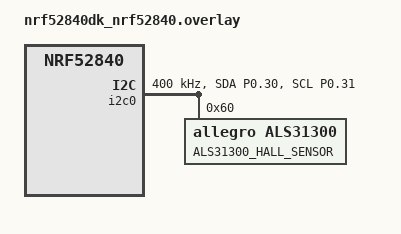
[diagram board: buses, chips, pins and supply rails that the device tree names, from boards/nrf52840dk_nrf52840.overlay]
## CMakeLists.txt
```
# Copyright (c) 2025 Croxel Inc.
# SPDX-License-Identifier: Apache-2.0

cmake_minimum_required(VERSION 3.20)
find_package(Zephyr REQUIRED HINTS $ENV{ZEPHYR_BASE})
project(als31300)

FILE(GLOB app_sources src/*.c)
target_sources(app PRIVATE ${app_sources})
```

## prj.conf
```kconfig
# SPDX-License-Identifier: Apache-2.0

# Logging configuration
CONFIG_LOG=y
CONFIG_LOG_DEFAULT_LEVEL=3
CONFIG_SENSOR_LOG_LEVEL_INF=y

# I2C and sensor support
CONFIG_I2C=y
CONFIG_SENSOR=y

# ALS31300 sensor driver
CONFIG_ALS31300=y

# Math library for magnitude calculations
CONFIG_NEWLIB_LIBC=y
CONFIG_NEWLIB_LIBC_FLOAT_PRINTF=y

CONFIG_CBPRINTF_FP_SUPPORT=y
```

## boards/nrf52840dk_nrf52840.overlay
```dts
/*
 * Copyright (c) 2025 Croxel
 * SPDX-License-Identifier: Apache-2.0
 */

&i2c0 {
	compatible = "nordic,nrf-twim";
	status = "okay";
	clock-frequency = <I2C_BITRATE_FAST>;
	pinctrl-0 = <&i2c0_default>;
	pinctrl-1 = <&i2c0_sleep>;
	pinctrl-names = "default", "sleep";

	als31300: als31300@60 {
		compatible = "allegro,als31300";
		reg = <0x60>;
		status = "okay";

		full-scale-range = <500>;	/* 500G, 1000G, or 2000G */

		label = "ALS31300_HALL_SENSOR";
	};
};

&pinctrl {
	i2c0_default: i2c0_default {
		group1 {
			psels = <NRF_PSEL(TWIM_SDA, 0, 30)>,	/* P0.30 */
				<NRF_PSEL(TWIM_SCL, 0, 31)>;	/* P0.31 */
		};
	};

	i2c0_sleep: i2c0_sleep {
		group1 {
			psels = <NRF_PSEL(TWIM_SDA, 0, 30)>,
				<NRF_PSEL(TWIM_SCL, 0, 31)>;
			low-power-enable;
		};
	};
};
```

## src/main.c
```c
/*
 * Copyright (c) 2025 Croxel
 * SPDX-License-Identifier: Apache-2.0
 */

#include <zephyr/kernel.h>
#include <zephyr/drivers/sensor.h>
#include <zephyr/logging/log.h>
#include <stdio.h>
#include <math.h>

LOG_MODULE_REGISTER(main, CONFIG_LOG_DEFAULT_LEVEL);

int main(void)
{
	const struct device *als31300;
	struct sensor_value x_val, y_val, z_val, temp_val;
	int ret;

	printk("ALS31300 3D Hall-Effect Sensor Sample\n");

	/* Get the ALS31300 device */
	als31300 = DEVICE_DT_GET(DT_NODELABEL(als31300));
	if (!device_is_ready(als31300)) {
		LOG_ERR("ALS31300 device not ready");
		return -1;
	}

	LOG_INF("ALS31300 device found and ready");

	while (1) {
		/* Fetch sensor data */
		ret = sensor_sample_fetch(als31300);
		if (ret < 0) {
			LOG_ERR("Failed to fetch sensor data: %d", ret);
			k_sleep(K_MSEC(1000));
			continue;
		}

		/* Get magnetic field data for all three axes */
		ret = sensor_channel_get(als31300, SENSOR_CHAN_MAGN_X, &x_val);
		if (ret < 0) {
			LOG_ERR("Failed to get X-axis data: %d", ret);
			continue;
		}

		ret = sensor_channel_get(als31300, SENSOR_CHAN_MAGN_Y, &y_val);
		if (ret < 0) {
			LOG_ERR("Failed to get Y-axis data: %d", ret);
			continue;
		}

		ret = sensor_channel_get(als31300, SENSOR_CHAN_MAGN_Z, &z_val);
		if (ret < 0) {
			LOG_ERR("Failed to get Z-axis data: %d", ret);
			continue;
		}

		/* Get temperature data */
		ret = sensor_channel_get(als31300, SENSOR_CHAN_AMBIENT_TEMP, &temp_val);
		if (ret < 0) {
			LOG_ERR("Failed to get temperature data: %d", ret);
			continue;
		}

		/* Log the sensor readings */
		LOG_INF("Magnetic Field (Gauss): X=%d.%06d, Y=%d.%06d, Z=%d.%06d", x_val.val1,
			abs(x_val.val2), y_val.val1, abs(y_val.val2), z_val.val1, abs(z_val.val2));

		LOG_INF("Temperature: %d.%06d°C", temp_val.val1, abs(temp_val.val2));

		/* Sleep for 500ms */
		k_sleep(K_MSEC(500));
	}

	return 0;
}
```
